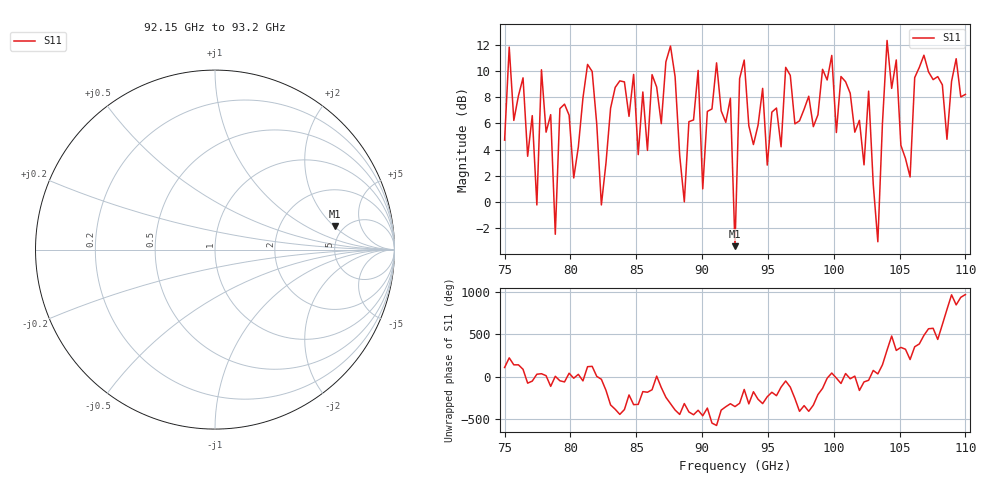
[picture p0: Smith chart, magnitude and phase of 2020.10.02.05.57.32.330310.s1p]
!Created with skrf (http://scikit-rf.org).
# GHz S RI R 50.0
!freq ReS11 ImS11
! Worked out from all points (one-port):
!   101 points, 75 GHz to 110 GHz, reference 50 ohm
!   lowest |S11| = -3.4 dB at 92.5 GHz (marker M1), VSWR 5.22, Z = 209 + j102 ohm
!   |S11| at or under -10 dB: nowhere
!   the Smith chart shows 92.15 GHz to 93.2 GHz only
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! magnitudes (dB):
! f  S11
! 75 GHz  4.7
! 75.35 GHz  11.8
! 77.45 GHz  -0.2
! 77.8 GHz  10.1
! 78.85 GHz  -2.5
! 79.55 GHz  7.5
! 80.25 GHz  1.8
! 81.65 GHz  10.0
! 82.35 GHz  -0.2
! 83.75 GHz  9.2
! 85.85 GHz  3.9
! 87.6 GHz  11.9
! 88.3 GHz  3.5
! 89.7 GHz  10.0
! 90.05 GHz  1.0
! 91.1 GHz  10.6
! 92.15 GHz  7.9
! 92.5 GHz  -3.4
! 93.2 GHz  10.8
! 94.95 GHz  2.8
! 97.05 GHz  6.0
! 101.2 GHz  8.3
! 102.7 GHz  8.4
! 103.3 GHz  -3.0
! 104 GHz  12.3
! 105.8 GHz  1.9
! 106.8 GHz  11.2
! 110 GHz  8.2
